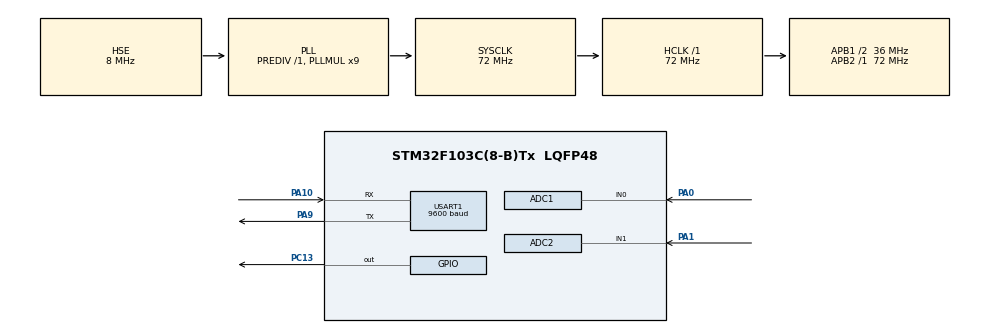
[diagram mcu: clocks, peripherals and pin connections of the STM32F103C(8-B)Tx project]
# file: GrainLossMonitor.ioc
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ADC1.Channel-3\#ChannelRegularConversion=ADC_CHANNEL_0
ADC1.NbrOfConversionFlag=1
ADC1.Rank-3\#ChannelRegularConversion=1
ADC1.SamplingTime-3\#ChannelRegularConversion=ADC_SAMPLETIME_1CYCLE_5
ADC1.master=1
ADC2.Channel-0\#ChannelRegularConversion=ADC_CHANNEL_1
ADC2.NbrOfConversionFlag=1
ADC2.Rank-0\#ChannelRegularConversion=1
ADC2.SamplingTime-0\#ChannelRegularConversion=ADC_SAMPLETIME_1CYCLE_5
Mcu.Family=STM32F1
Mcu.Name=STM32F103C(8-B)Tx
Mcu.Package=LQFP48
NVIC.PriorityGroup=NVIC_PRIORITYGROUP_4
PA0-WKUP.Signal=ADCx_IN0
PA1.Signal=ADCx_IN1
PA10.Mode=Asynchronous
PA10.Signal=USART1_RX
PA13.Mode=Serial_Wire
PA13.Signal=SYS_JTMS-SWDIO
PA14.Mode=Serial_Wire
PA14.Signal=SYS_JTCK-SWCLK
PA9.Mode=Asynchronous
PA9.Signal=USART1_TX
PC13-TAMPER-RTC.Signal=GPIO_Output
PD0-OSC_IN.Mode=HSE-External-Oscillator
PD0-OSC_IN.Signal=RCC_OSC_IN
PD1-OSC_OUT.Mode=HSE-External-Oscillator
PD1-OSC_OUT.Signal=RCC_OSC_OUT
ProjectManager.HeapSize=0x200
ProjectManager.StackSize=0x400
ProjectManager.TargetToolchain=STM32CubeIDE
RCC.ADCPresc=RCC_ADCPCLK2_DIV6
RCC.AHBFreq_Value=72000000
RCC.APB1CLKDivider=RCC_HCLK_DIV2
RCC.APB1Freq_Value=36000000
RCC.APB1TimFreq_Value=72000000
RCC.APB2Freq_Value=72000000
RCC.APB2TimFreq_Value=72000000
RCC.HCLKFreq_Value=72000000
RCC.PLLMUL=RCC_PLL_MUL9
RCC.PLLSourceVirtual=RCC_PLLSOURCE_HSE
RCC.SYSCLKFreq_VALUE=72000000
RCC.SYSCLKSource=RCC_SYSCLKSOURCE_PLLCLK
RCC.USBFreq_Value=72000000
SH.ADCx_IN0.0=ADC1_IN0,IN0
SH.ADCx_IN1.0=ADC2_IN1,IN1
USART1.BaudRate=9600
USART1.VirtualMode=VM_ASYNC
board=custom

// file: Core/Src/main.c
/* USER CODE BEGIN Header */
/**
  ******************************************************************************
  * @file           : main.c
  * @brief          : Main program body
  ******************************************************************************
  * @attention
  *
  * <h2><center>&copy; Copyright (c) 2021 STMicroelectronics.
  * All rights reserved.</center></h2>
  *
  * This software component is licensed by ST under BSD 3-Clause license,
  * the "License"; You may not use this file except in compliance with the
  * License. You may obtain a copy of the License at:
  *                        opensource.org/licenses/BSD-3-Clause
  *
  ******************************************************************************
  */
/* USER CODE END Header */
#include "main.h"

/* USER CODE BEGIN Includes */
#include <stdio.h>

#include "peakDetection.h"
#include "nextion.h"
#include "flash_page.h"

/* USER CODE END Includes */

/* USER CODE BEGIN PD */
// #define FILTER_LENGTH 20
#define END_PAG63 0x08018C00 // Max (pag 63): 0x08018C00
/* USER CODE END PD */

/* USER CODE BEGIN PM */

float movingAvgFilter(int actualSample);//Filtro media movel ADC1
float movingAvgFilter2(int actualSample);//Filtro media movel ADC2

/* USER CODE END PM */

ADC_HandleTypeDef hadc1;
ADC_HandleTypeDef hadc2;

UART_HandleTypeDef huart1;

void SystemClock_Config(void);
static void MX_GPIO_Init(void);
static void MX_ADC1_Init(void);
static void MX_USART1_UART_Init(void);
static void MX_ADC2_Init(void);

/* USER CODE BEGIN 0 */
int contAmostras = 0;

uint16_t slider1 = 0;          //Valor do slider de calibracao 1
uint16_t slider1ant = 0;       //Ultimo valor do slider de calibracao 1
uint16_t slider2 = 0;          //Valor do slider de calibracao 2
uint16_t slider2ant = 0;       //Ultimo valor do slider de calibracao 2
uint16_t filter_length = 1;    //Valor do slider do filtro media movel
uint16_t filter_lengthAnt = 0; //Ultimo valor do slider do filtro media movel

static int filterVector[50];  //Media movel buffer
static long accSum;           //Media movel soma
static int filterVector2[50]; //Media movel buffer ADC2
static long accSum2;          //Media movel soma ADC2

char Rxbuf[10]; //Buffer recebimento serial

float adcDataSamples[SAMPLE_LENGTH];  //Global para usar DMA
float adcDataSamples2[SAMPLE_LENGTH]; //Global para usar DMA

int32_t map(int32_t x, int32_t in_min, int32_t in_max, int32_t out_min, int32_t out_max)
{
  return (x - in_min) * (out_max - out_min) / (in_max - in_min) + out_min;
}

int __io_putchar(int ch)
{
  HAL_UART_Transmit(&huart1, (uint8_t *)&ch, 1, 1000);
  return ch;
}

/* USER CODE END 0 */

int main(void)
{

  /* MCU Configuration--------------------------------------------------------*/

  /* Reset of all peripherals, Initializes the Flash interface and the Systick. */
  HAL_Init();

  /* Configure the system clock */
  SystemClock_Config();

  /* Initialize all configured peripherals */
  MX_GPIO_Init();
  MX_ADC1_Init();
  MX_USART1_UART_Init();
  MX_ADC2_Init();
  /* USER CODE BEGIN 2 */

  int signal[SAMPLE_LENGTH]; //Vetor com a os sinais de pico
  int peakQtd = 0;           //Quantidade de picos detectados

  int signal2[SAMPLE_LENGTH]; //Vetor com a os sinais de pico ADC 2
  int peakQtd2 = 0;           //Quantidade de picos detectados ADC 2

  float progressBarValue1 = 0; //Valor convertido enviado para o display
  float waveValue1 = 0;        //Valor convertido enviado para o display
  float contFiltered;          //Contagem de pulsos com media movel

  float progressBarValue2 = 0; //Valor convertido enviado para o display ADC 2
  float waveValue2 = 0;        //Valor convertido enviado para o display ADC 2
  float contFiltered2;         //Contagem de pulsos com media movel ADC 2

  HAL_ADCEx_Calibration_Start(&hadc1);

  FLASH_le_16bits(END_PAG63, &slider1);           //Le da flash o valor da ultima calibracao
  FLASH_le_16bits(END_PAG63 + 2, &slider2);       //Le da flash o valor da ultima calibracao
  FLASH_le_16bits(END_PAG63 + 4, &filter_length); //Le da flash o valor da ultima calibracao
  /* USER CODE END 2 */

  /* Infinite loop */
  while (1)
  {

    /* USER CODE BEGIN 3 */

    do
    {

      HAL_ADC_Start(&hadc1);
      HAL_ADC_Start(&hadc2);
      HAL_ADC_PollForConversion(&hadc1, 1);
      HAL_ADC_PollForConversion(&hadc2, 1);
      if (HAL_ADC_GetValue(&hadc1) > slider2 * 2) //Tamanho minimo do sinal
      {
        adcDataSamples[contAmostras] = HAL_ADC_GetValue(&hadc1);
      }
      else
      {
        adcDataSamples[contAmostras] = 0;
      }

      if (HAL_ADC_GetValue(&hadc2) > slider2 * 2) //Tamanho minimo do sinal
      {
        adcDataSamples2[contAmostras] = HAL_ADC_GetValue(&hadc2);
      }
      else
      {
        adcDataSamples2[contAmostras] = 0;
      }

      contAmostras++;
      HAL_Delay(4);

    } while (contAmostras < SAMPLE_LENGTH);
    contAmostras = 0;

    thresholding(adcDataSamples, signal);
    peakQtd = contPeak(signal);
    thresholding(adcDataSamples2, signal2);
    peakQtd2 = contPeak(signal2);

    contFiltered = movingAvgFilter(peakQtd * 10);
    contFiltered2 = movingAvgFilter2(peakQtd2 * 10);

    if (slider1 != 0) //Erro se fizer um map de 0
    {
      progressBarValue1 = map(contFiltered, 0, slider1, 0, 100);
      waveValue1 = map(contFiltered, 0, slider1, 0, 180);

      if (progressBarValue1 > 100)
        progressBarValue1 = 100;
      if (waveValue1 > 180)
        waveValue1 = 180;

      progressBarValue2 = map(contFiltered2, 0, slider1, 0, 100);
      waveValue2 = map(contFiltered2, 0, slider1, 0, 180);

      if (progressBarValue2 > 100)
        progressBarValue2 = 100;
      if (waveValue2 > 180)
        waveValue2 = 180;
    }

    SendToProgressBar("j0.val", (int)progressBarValue1);
    SendToProgressBar("j1.val", (int)progressBarValue2);
    SendToWave("add 2,0", (int)waveValue1);
    SendToWave("add 3,0", (int)waveValue2);

    peakQtd = 0;
    peakQtd2 = 0;

    GetPage(); //Receber o numero da pagina atual
    HAL_UART_Receive(&huart1, (uint8_t *)Rxbuf, 5, 100);
    if ((Rxbuf[1] == 0x66 && Rxbuf[2] == 0x03 && Rxbuf[4] == 0xFF)) //Pagina de calibracão
    {

      GetVal("h0"); //Recebe o valor do slider1
      HAL_UART_Receive(&huart1, (uint8_t *)Rxbuf, 8, 100);
      if (Rxbuf[1] == 0x71 && Rxbuf[7] == 0xFF)
      {
        slider1 = (uint16_t)Rxbuf[2];

        if (slider1 == 0) //Primeira vez que entrou na tela de calibragem
        {
          uint16_t slider1Flash;
          uint16_t slider2Flash;
          uint16_t filter_lengthFlash;
          FLASH_le_16bits(END_PAG63, &slider1Flash);
          FLASH_le_16bits(END_PAG63 + 2, &slider2Flash);
          FLASH_le_16bits(END_PAG63 + 4, &filter_lengthFlash);
          SendToSlider("h0", slider1Flash); //Seta os sliders para o valor que estava gravado na FLASH
          SendText("n0", slider1Flash);
          SendToSlider("h1", slider2Flash);
          SendText("n1", slider2Flash);
          SendToSlider("h2", filter_lengthFlash);
          SendText("n2", filter_lengthFlash);
        }

        if (slider1 != slider1ant && slider1 != 0)
        { //Somente escreve quando o slider foi atualizado e nao é a primeira vez que entra na tela
          FLASH_apaga(END_PAG63, 1);
          FLASH_escreve_16bits(END_PAG63, &slider1);
          FLASH_escreve_16bits(END_PAG63 + 2, &slider2);
          FLASH_escreve_16bits(END_PAG63 + 4, &filter_length);
        }

        slider1ant = slider1;
      }
      memset(Rxbuf, 0, sizeof(Rxbuf));

      GetVal("h1"); //Recebe o valor do slider2
      HAL_UART_Receive(&huart1, (uint8_t *)Rxbuf, 8, 100);
      if (Rxbuf[1] == 0x71 && Rxbuf[7] == 0xFF)
      {
        slider2 = (uint16_t)Rxbuf[2];

        if (slider2 != slider2ant && slider2 != 0)
        { //Somente escreve quando o slider foi atualizado e nao é a primeira vez que entra na tela
          FLASH_apaga(END_PAG63, 1);
          FLASH_escreve_16bits(END_PAG63, &slider1);
          FLASH_escreve_16bits(END_PAG63 + 2, &slider2);
          FLASH_escreve_16bits(END_PAG63 + 4, &filter_length);
        }

        slider2ant = slider2;
      }
    }
    GetVal("h2"); //Recebe o valor do slider2
    HAL_UART_Receive(&huart1, (uint8_t *)Rxbuf, 8, 100);
    if (Rxbuf[1] == 0x71 && Rxbuf[7] == 0xFF)
    {
      filter_length = (uint16_t)Rxbuf[2];

      if (filter_length != filter_lengthAnt && filter_length != 0)
      { //Somente escreve quando o slider foi atualizado e nao é a primeira vez que entra na tela
        FLASH_apaga(END_PAG63, 1);
        FLASH_escreve_16bits(END_PAG63, &slider1);
        FLASH_escreve_16bits(END_PAG63 + 2, &slider2);
        FLASH_escreve_16bits(END_PAG63 + 4, &filter_length);
        memset(filterVector, 0, sizeof(filterVector)); //Zera o buffer da media movel
        accSum = 0;//Zera soma da media movel
        memset(filterVector2, 0, sizeof(filterVector2)); //Zera o buffer da media movel ADC2
        accSum2 = 0;//Zera soma da media movel ADC2
      }

      filter_lengthAnt = filter_length;
    }
  }

  memset(Rxbuf, 0, sizeof(Rxbuf)); //Zera o buffer

  HAL_GPIO_TogglePin(GPIOC, GPIO_PIN_13);
}
/* USER CODE END 3 */

void SystemClock_Config(void)
{
  RCC_OscInitTypeDef RCC_OscInitStruct = {0};
  RCC_ClkInitTypeDef RCC_ClkInitStruct = {0};
  RCC_PeriphCLKInitTypeDef PeriphClkInit = {0};

  /** Initializes the RCC Oscillators according to the specified parameters
  * in the RCC_OscInitTypeDef structure.
  */
  RCC_OscInitStruct.OscillatorType = RCC_OSCILLATORTYPE_HSE;
  RCC_OscInitStruct.HSEState = RCC_HSE_ON;
  RCC_OscInitStruct.HSEPredivValue = RCC_HSE_PREDIV_DIV1;
  RCC_OscInitStruct.HSIState = RCC_HSI_ON;
  RCC_OscInitStruct.PLL.PLLState = RCC_PLL_ON;
  RCC_OscInitStruct.PLL.PLLSource = RCC_PLLSOURCE_HSE;
  RCC_OscInitStruct.PLL.PLLMUL = RCC_PLL_MUL9;
  if (HAL_RCC_OscConfig(&RCC_OscInitStruct) != HAL_OK)
  {
    Error_Handler();
  }
  /** Initializes the CPU, AHB and APB buses clocks
  */
  RCC_ClkInitStruct.ClockType = RCC_CLOCKTYPE_HCLK | RCC_CLOCKTYPE_SYSCLK | RCC_CLOCKTYPE_PCLK1 | RCC_CLOCKTYPE_PCLK2;
  RCC_ClkInitStruct.SYSCLKSource = RCC_SYSCLKSOURCE_PLLCLK;
  RCC_ClkInitStruct.AHBCLKDivider = RCC_SYSCLK_DIV1;
  RCC_ClkInitStruct.APB1CLKDivider = RCC_HCLK_DIV2;
  RCC_ClkInitStruct.APB2CLKDivider = RCC_HCLK_DIV1;

  if (HAL_RCC_ClockConfig(&RCC_ClkInitStruct, FLASH_LATENCY_2) != HAL_OK)
  {
    Error_Handler();
  }
  PeriphClkInit.PeriphClockSelection = RCC_PERIPHCLK_ADC;
  PeriphClkInit.AdcClockSelection = RCC_ADCPCLK2_DIV6;
  if (HAL_RCCEx_PeriphCLKConfig(&PeriphClkInit) != HAL_OK)
  {
    Error_Handler();
  }
}

static void MX_ADC1_Init(void)
{

  ADC_ChannelConfTypeDef sConfig = {0};

  /** Common config
  */
  hadc1.Instance = ADC1;
  hadc1.Init.ScanConvMode = ADC_SCAN_DISABLE;
  hadc1.Init.ContinuousConvMode = DISABLE;
  hadc1.Init.DiscontinuousConvMode = DISABLE;
  hadc1.Init.ExternalTrigConv = ADC_SOFTWARE_START;
  hadc1.Init.DataAlign = ADC_DATAALIGN_RIGHT;
  hadc1.Init.NbrOfConversion = 1;
  if (HAL_ADC_Init(&hadc1) != HAL_OK)
  {
    Error_Handler();
  }
  /** Configure Regular Channel
  */
  sConfig.Channel = ADC_CHANNEL_0;
  sConfig.Rank = ADC_REGULAR_RANK_1;
  sConfig.SamplingTime = ADC_SAMPLETIME_1CYCLE_5;
  if (HAL_ADC_ConfigChannel(&hadc1, &sConfig) != HAL_OK)
  {
    Error_Handler();
  }
}

static void MX_ADC2_Init(void)
{

  ADC_ChannelConfTypeDef sConfig = {0};

  /** Common config
  */
  hadc2.Instance = ADC2;
  hadc2.Init.ScanConvMode = ADC_SCAN_DISABLE;
  hadc2.Init.ContinuousConvMode = DISABLE;
  hadc2.Init.DiscontinuousConvMode = DISABLE;
  hadc2.Init.ExternalTrigConv = ADC_SOFTWARE_START;
  hadc2.Init.DataAlign = ADC_DATAALIGN_RIGHT;
  hadc2.Init.NbrOfConversion = 1;
  if (HAL_ADC_Init(&hadc2) != HAL_OK)
  {
    Error_Handler();
  }
  /** Configure Regular Channel
  */
  sConfig.Channel = ADC_CHANNEL_1;
  sConfig.Rank = ADC_REGULAR_RANK_1;
  sConfig.SamplingTime = ADC_SAMPLETIME_1CYCLE_5;
  if (HAL_ADC_ConfigChannel(&hadc2, &sConfig) != HAL_OK)
  {
    Error_Handler();
  }
}

static void MX_USART1_UART_Init(void)
{

  huart1.Instance = USART1;
  huart1.Init.BaudRate = 9600;
  huart1.Init.WordLength = UART_WORDLENGTH_8B;
  huart1.Init.StopBits = UART_STOPBITS_1;
  huart1.Init.Parity = UART_PARITY_NONE;
  huart1.Init.Mode = UART_MODE_TX_RX;
  huart1.Init.HwFlowCtl = UART_HWCONTROL_NONE;
  huart1.Init.OverSampling = UART_OVERSAMPLING_16;
  if (HAL_UART_Init(&huart1) != HAL_OK)
  {
    Error_Handler();
  }
}

static void MX_GPIO_Init(void)
{
  GPIO_InitTypeDef GPIO_InitStruct = {0};

  /* GPIO Ports Clock Enable */
  __HAL_RCC_GPIOC_CLK_ENABLE();
  __HAL_RCC_GPIOD_CLK_ENABLE();
  __HAL_RCC_GPIOA_CLK_ENABLE();

  /*Configure GPIO pin Output Level */
  HAL_GPIO_WritePin(GPIOC, GPIO_PIN_13, GPIO_PIN_RESET);

  /*Configure GPIO pin : PC13 */
  GPIO_InitStruct.Pin = GPIO_PIN_13;
  GPIO_InitStruct.Mode = GPIO_MODE_OUTPUT_PP;
  GPIO_InitStruct.Pull = GPIO_NOPULL;
  GPIO_InitStruct.Speed = GPIO_SPEED_FREQ_LOW;
  HAL_GPIO_Init(GPIOC, &GPIO_InitStruct);
}

/* USER CODE BEGIN 4 */

float movingAvgFilter(int actualSample)
{
  static int i;

  accSum = accSum - filterVector[i] + actualSample;

  filterVector[i] = actualSample;

  if (++i >= filter_length)
    i = 0;

  return (float)accSum / (float)filter_length;
}

float movingAvgFilter2(int actualSample2)
{
  static int j;

  accSum2 = accSum2 - filterVector2[j] + actualSample2;

  filterVector2[j] = actualSample2;

  if (++j >= filter_length)
    j = 0;

  return (float)accSum2 / (float)filter_length;
}

/* USER CODE END 4 */

void Error_Handler(void)
{
}

/************************ (C) COPYRIGHT STMicroelectronics *****END OF FILE****/
